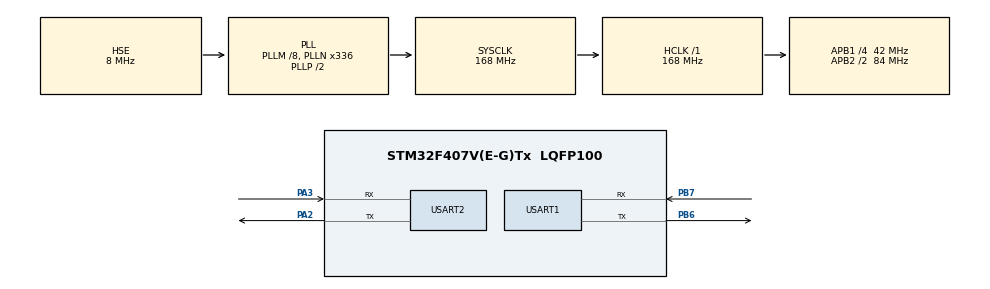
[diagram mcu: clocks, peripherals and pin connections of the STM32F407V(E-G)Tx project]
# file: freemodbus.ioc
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FREERTOS.Tasks01=defaultTask,24,128,StartDefaultTask,Default,NULL,Dynamic,NULL,NULL
Mcu.Family=STM32F4
Mcu.Name=STM32F407V(E-G)Tx
Mcu.Package=LQFP100
NVIC.PriorityGroup=NVIC_PRIORITYGROUP_4
NVIC.USART1_IRQn=true\:5\:0\:false\:false\:true\:true\:true\:true\:true
NVIC.USART2_IRQn=true\:5\:0\:false\:false\:true\:true\:true\:true\:true
PA13.Mode=Serial_Wire
PA13.Signal=SYS_JTMS-SWDIO
PA14.Mode=Serial_Wire
PA14.Signal=SYS_JTCK-SWCLK
PA2.Mode=Asynchronous
PA2.Signal=USART2_TX
PA3.Mode=Asynchronous
PA3.Signal=USART2_RX
PB6.Mode=Asynchronous
PB6.Signal=USART1_TX
PB7.Mode=Asynchronous
PB7.Signal=USART1_RX
PH0-OSC_IN.Mode=HSE-External-Oscillator
PH0-OSC_IN.Signal=RCC_OSC_IN
PH1-OSC_OUT.Mode=HSE-External-Oscillator
PH1-OSC_OUT.Signal=RCC_OSC_OUT
ProjectManager.HeapSize=0x200
ProjectManager.StackSize=0x400
ProjectManager.TargetToolchain=STM32CubeIDE
RCC.48MHZClocksFreq_Value=84000000
RCC.AHBFreq_Value=168000000
RCC.APB1CLKDivider=RCC_HCLK_DIV4
RCC.APB1Freq_Value=42000000
RCC.APB1TimFreq_Value=84000000
RCC.APB2CLKDivider=RCC_HCLK_DIV2
RCC.APB2Freq_Value=84000000
RCC.APB2TimFreq_Value=168000000
RCC.CortexFreq_Value=168000000
RCC.HCLKFreq_Value=168000000
RCC.HSE_VALUE=8000000
RCC.HSI_VALUE=16000000
RCC.LSE_VALUE=32768
RCC.PLLM=8
RCC.PLLN=336
RCC.PLLSourceVirtual=RCC_PLLSOURCE_HSE
RCC.SYSCLKFreq_VALUE=168000000
RCC.SYSCLKSource=RCC_SYSCLKSOURCE_PLLCLK
RCC.VCOOutputFreq_Value=336000000
USART1.VirtualMode=VM_ASYNC
USART2.VirtualMode=VM_ASYNC
VP_FREERTOS_VS_CMSIS_V2.Mode=CMSIS_V2
board=custom

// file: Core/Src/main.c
/* USER CODE BEGIN Header */
/**
  ******************************************************************************
  * @file           : main.c
  * @brief          : Main program body
  ******************************************************************************
  * @attention
  *
  * Copyright (c) 2024 STMicroelectronics.
  * All rights reserved.
  *
  * This software is licensed under terms that can be found in the LICENSE file
  * in the root directory of this software component.
  * If no LICENSE file comes with this software, it is provided AS-IS.
  *
  ******************************************************************************
  */
/* USER CODE END Header */
#include "main.h"
#include "cmsis_os.h"
#include "usart.h"
#include "gpio.h"

void SystemClock_Config(void);
void MX_FREERTOS_Init(void);

int main(void)
{

  /* MCU Configuration--------------------------------------------------------*/

  /* Reset of all peripherals, Initializes the Flash interface and the Systick. */
  HAL_Init();

  /* Configure the system clock */
  SystemClock_Config();

  /* Initialize all configured peripherals */
  MX_GPIO_Init();
  MX_USART1_UART_Init();
  MX_USART2_UART_Init();

  /* Init scheduler */
  osKernelInitialize();  /* Call init function for freertos objects (in freertos.c) */
  MX_FREERTOS_Init();

  /* Start scheduler */
  osKernelStart();

  /* We should never get here as control is now taken by the scheduler */
  /* Infinite loop */
  while (1)
  {

  }
}

void SystemClock_Config(void)
{
  RCC_OscInitTypeDef RCC_OscInitStruct = {0};
  RCC_ClkInitTypeDef RCC_ClkInitStruct = {0};

  /** Configure the main internal regulator output voltage
  */
  __HAL_RCC_PWR_CLK_ENABLE();
  __HAL_PWR_VOLTAGESCALING_CONFIG(PWR_REGULATOR_VOLTAGE_SCALE1);

  /** Initializes the RCC Oscillators according to the specified parameters
  * in the RCC_OscInitTypeDef structure.
  */
  RCC_OscInitStruct.OscillatorType = RCC_OSCILLATORTYPE_HSE;
  RCC_OscInitStruct.HSEState = RCC_HSE_ON;
  RCC_OscInitStruct.PLL.PLLState = RCC_PLL_ON;
  RCC_OscInitStruct.PLL.PLLSource = RCC_PLLSOURCE_HSE;
  RCC_OscInitStruct.PLL.PLLM = 8;
  RCC_OscInitStruct.PLL.PLLN = 336;
  RCC_OscInitStruct.PLL.PLLP = RCC_PLLP_DIV2;
  RCC_OscInitStruct.PLL.PLLQ = 4;
  if (HAL_RCC_OscConfig(&RCC_OscInitStruct) != HAL_OK)
  {
    Error_Handler();
  }

  /** Initializes the CPU, AHB and APB buses clocks
  */
  RCC_ClkInitStruct.ClockType = RCC_CLOCKTYPE_HCLK|RCC_CLOCKTYPE_SYSCLK
                              |RCC_CLOCKTYPE_PCLK1|RCC_CLOCKTYPE_PCLK2;
  RCC_ClkInitStruct.SYSCLKSource = RCC_SYSCLKSOURCE_PLLCLK;
  RCC_ClkInitStruct.AHBCLKDivider = RCC_SYSCLK_DIV1;
  RCC_ClkInitStruct.APB1CLKDivider = RCC_HCLK_DIV4;
  RCC_ClkInitStruct.APB2CLKDivider = RCC_HCLK_DIV2;

  if (HAL_RCC_ClockConfig(&RCC_ClkInitStruct, FLASH_LATENCY_5) != HAL_OK)
  {
    Error_Handler();
  }
}

void Error_Handler(void)
{
  __disable_irq();
  while (1)
  {
  }
}

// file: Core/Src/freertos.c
/* USER CODE BEGIN Header */
/**
  ******************************************************************************
  * File Name          : freertos.c
  * Description        : Code for freertos applications
  ******************************************************************************
  * @attention
  *
  * Copyright (c) 2024 STMicroelectronics.
  * All rights reserved.
  *
  * This software is licensed under terms that can be found in the LICENSE file
  * in the root directory of this software component.
  * If no LICENSE file comes with this software, it is provided AS-IS.
  *
  ******************************************************************************
  */
/* USER CODE END Header */

#include "FreeRTOS.h"
#include "task.h"
#include "main.h"
#include "cmsis_os.h"

/* USER CODE BEGIN Includes */
#include "mb_m.h"
/* USER CODE END Includes */

/* Definitions for defaultTask */
osThreadId_t defaultTaskHandle;
const osThreadAttr_t defaultTask_attributes = {
  .name = "defaultTask",
  .stack_size = 128 * 4,
  .priority = (osPriority_t) osPriorityNormal,
};

osThreadId_t mbMasterTaskHandle;
const osThreadAttr_t mbMasterTask_attributes = {
  .name = "mbMasterTask",
  .stack_size = 128 * 4,
  .priority = (osPriority_t) osPriorityNormal,
};

osThreadId_t mbSlaveTaskHandle;
const osThreadAttr_t mbSlaveTask_attributes = {
  .name = "mbSlaveTask",
  .stack_size = 128 * 4,
  .priority = (osPriority_t) osPriorityNormal,
};

osThreadId_t ModbusAppTaskHandle;
const osThreadAttr_t ModbusAppTask_attributes = {
  .name = "ModbusAppask",
  .stack_size = 128 * 4,
  .priority = (osPriority_t) osPriorityNormal,
};

/* USER CODE BEGIN FunctionPrototypes */
void ModbusMasterTask( void *argument );
void ModbusSlaveTask( void *argument );
void ModbusAppTask( void *argument );
/* USER CODE END FunctionPrototypes */

void StartDefaultTask(void *argument);

void MX_FREERTOS_Init(void); /* (MISRA C 2004 rule 8.1) */

void MX_FREERTOS_Init(void) {

  /* Create the thread(s) */
  /* creation of defaultTask */
  defaultTaskHandle = osThreadNew(StartDefaultTask, NULL, &defaultTask_attributes);

  /* USER CODE BEGIN RTOS_THREADS */
  /* add threads, ... */
  mbMasterTaskHandle = osThreadNew(ModbusMasterTask, NULL, &mbMasterTask_attributes);
  mbSlaveTaskHandle = osThreadNew(ModbusSlaveTask, NULL, &mbSlaveTask_attributes);
  ModbusAppTaskHandle = osThreadNew(ModbusAppTask, NULL, &ModbusAppTask_attributes);
  /* USER CODE END RTOS_THREADS */

}

void StartDefaultTask(void *argument)
{
  for(;;)
  {
    osDelay(1);
  }
}

/* USER CODE BEGIN Application */

void ModbusMasterTask( void *argument )
{
    eMBMasterInit( MB_RTU, 1, 115200, MB_PAR_NONE );
    eMBMasterEnable();
    vMBMasterRunResRelease();
    while( 1 ){
        eMBMasterPoll();
        osDelay(1);
    }
}
void ModbusSlaveTask( void *argument ){
	eMBInit(MB_RTU, 0X01, 1, 115200, MB_PAR_NONE);
	while(1){
		eMBPoll();
		osDelay(1);
	}
}
/*
 * FreeModbus 测试程序，将读到的数据写出去。
 * */
void ModbusAppTask( void *argument ){
	uint16_t data[10];
	osDelay(100);
	while(1){
		eMBMasterReqReadHolding(1, 40000, 5, data, 100);
		eMBMasterReqWriteMultipleHolding(1, 40005, 5, data, 100);
		osDelay(100);
	}
}
/* USER CODE END Application */
